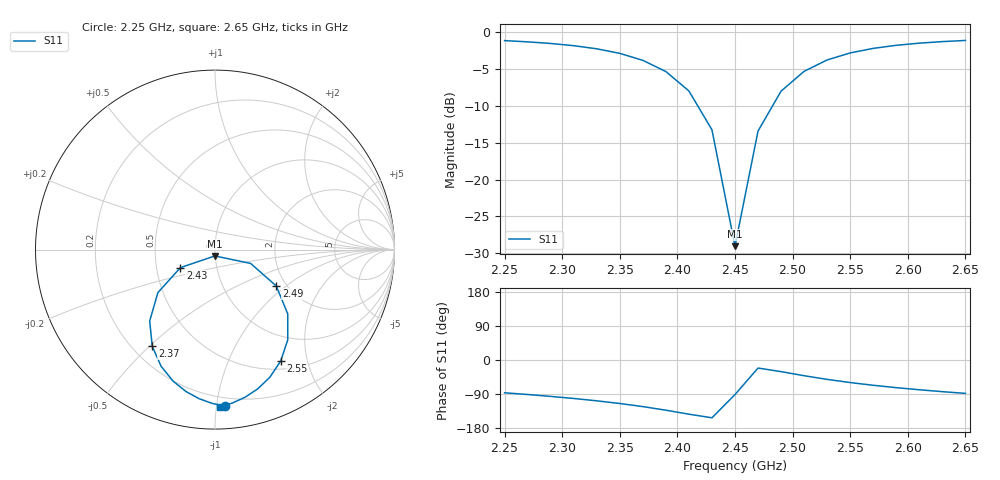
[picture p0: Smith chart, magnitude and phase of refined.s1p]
# Hz S RI R 50
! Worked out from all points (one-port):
!   21 points, 2.25 GHz to 2.65 GHz, reference 50 ohm
!   lowest |S11| = -29.0 dB at 2.45 GHz (marker M1), VSWR 1.07, Z = 49.8 - j3.52 ohm
!   |S11| at or under -10 dB: 2.418 GHz to 2.483 GHz (65.09 MHz wide, 2.66 % of centre)
!   S11 on the Smith chart (normalised r, x): 2.25 GHz: 0.14, -1.05; 2.37 GHz: 0.28, -0.51; 2.43 GHz: 0.67, -0.14; 2.49 GHz: 1.77, -0.85; 2.55 GHz: 0.61, -1.58; 2.65 GHz: 0.14, -1.02
2.25e9  0.0531 -0.8719
2.27e9  -0.0159 -0.8569
2.29e9  -0.0878 -0.831
2.31e9  -0.1613 -0.7909
2.33e9  -0.234 -0.7323
2.35e9  -0.3002 -0.65
2.37e9  -0.3496 -0.5387
2.39e9  -0.3639 -0.3977
2.41e9  -0.3181 -0.2394
2.43e9  -0.1925 -0.1004
2.45e9  -0.000724 -0.0353
2.47e9  0.1986 -0.0772
2.49e9  0.3415 -0.2028
2.51e9  0.4054 -0.3584
2.53e9  0.4053 -0.5034
2.55e9  0.3657 -0.6213
2.57e9  0.306 -0.7109
2.59e9  0.2375 -0.7764
2.61e9  0.1667 -0.8229
2.63e9  0.0967 -0.8548
2.65e9  0.0288 -0.8753
